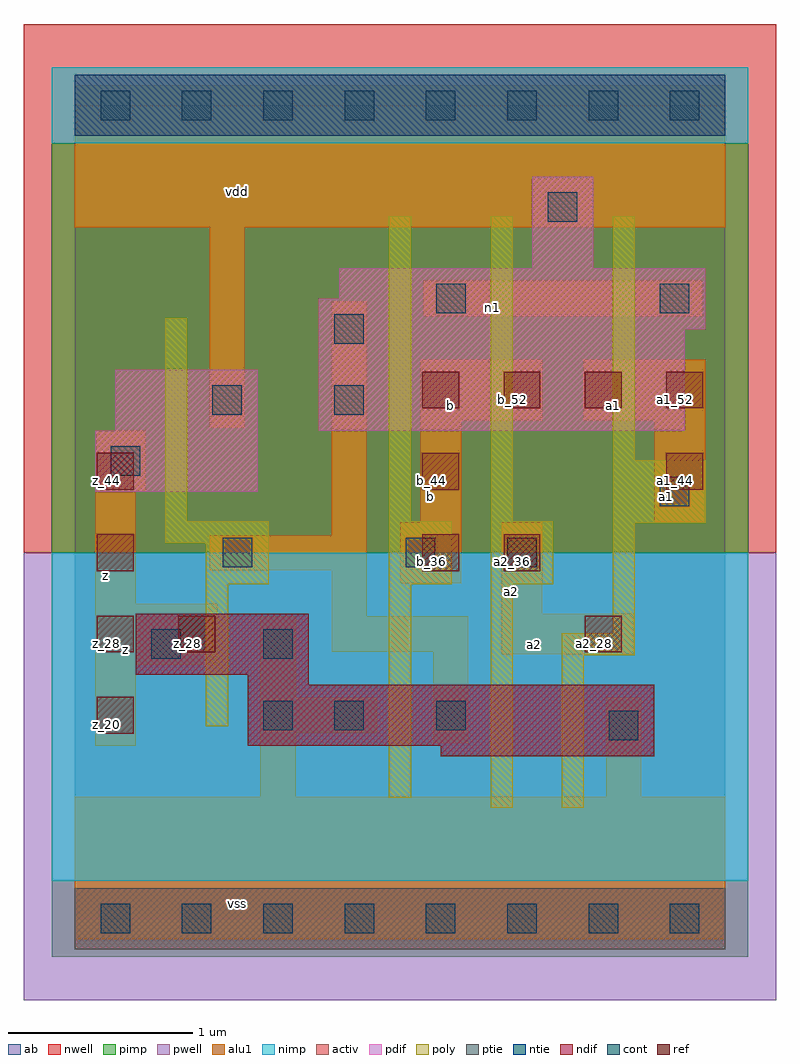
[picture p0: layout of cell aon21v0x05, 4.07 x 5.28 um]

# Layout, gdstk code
import gdstk
lib = gdstk.Library(unit=1e-6, precision=2.5e-09)
def R(c, l, rs):  # rectangles x0, y0, x1, y1
    for r in rs: c.add(gdstk.rectangle(r[:2], r[2:], *l))
def A(c, l, x, y, w, h, nx, ny, dx, dy):  # array of equal rectangles
    R(c, l, [(x+i*dx, y+j*dy, x+i*dx+w, y+j*dy+h) for i in range(nx) for j in range(ny)])
ndif = (3, 0)
pdif = (4, 0)
ntie = (5, 0)
ptie = (6, 0)
ref = (24, 0)
cont = (25, 0)
pwell = (41, 0)
nwell = (42, 0)
activ = (43, 0)
pimp = (44, 0)
nimp = (45, 0)
poly = (46, 0)
alu1 = (49, 0)
ab = (63, 0)

aon21v0x05 = lib.new_cell('aon21v0x05')
R(aon21v0x05, ndif, [(1.98,0.88,3.135,0.935), (0.935,0.935,3.135,1.265), (0.935,1.265,1.265,1.32), (0.33,1.32,1.265,1.65)])
R(aon21v0x05, pdif, [(0.11,2.31,0.99,2.64), (0.22,2.64,0.99,2.97), (1.32,2.64,3.3,3.19), (1.32,3.19,3.41,3.355), (1.43,3.355,3.41,3.52), (2.475,3.52,2.805,4.015)])
R(aon21v0x05, ntie, [(0,4.235,3.52,4.565)])
R(aon21v0x05, ptie, [(0,-0.165,3.52,0.165)])
A(aon21v0x05, ref, 0.12, 1, 0.2, 0.2, 1, 4, 0, 0.44)
A(aon21v0x05, ref, 1.88, 2.76, 0.2, 0.2, 4, 1, 0.44, 0)
R(aon21v0x05, ref, [(0.56,1.44,0.76,1.64), (2.76,1.44,2.96,1.64), (1.88,1.88,2.08,2.08), (2.32,1.88,2.52,2.08), (1.88,2.32,2.08,2.52), (3.2,2.32,3.4,2.52)])
A(aon21v0x05, cont, 0.14, -0.08, 0.16, 0.16, 8, 2, 0.44, 4.4)
R(aon21v0x05, cont, [(2.89,0.965,3.05,1.125), (1.02,1.02,1.18,1.18), (1.405,1.02,1.565,1.18), (1.955,1.02,2.115,1.18), (0.415,1.405,0.575,1.565), (1.02,1.405,1.18,1.565), (0.8,1.9,0.96,2.06), (1.79,1.9,1.95,2.06), (2.34,1.9,2.5,2.06), (3.165,2.23,3.325,2.39), (0.195,2.395,0.355,2.555), (0.745,2.725,0.905,2.885), (1.405,2.725,1.565,2.885), (1.405,3.11,1.565,3.27), (1.955,3.275,2.115,3.435), (3.165,3.275,3.325,3.435), (2.56,3.77,2.72,3.93)])
R(aon21v0x05, pwell, [(-0.275,-0.44,3.795,1.98)])
R(aon21v0x05, nwell, [(-0.275,1.98,3.795,4.84)])
R(aon21v0x05, activ, [(0,-0.165,3.52,0.165), (1.98,0.88,3.135,0.935), (0.935,0.935,3.135,1.265), (0.935,1.265,1.265,1.32), (0.33,1.32,1.265,1.65), (0.11,2.31,0.99,2.64), (0.22,2.64,0.99,2.97), (1.32,2.64,3.3,3.19), (1.32,3.19,3.41,3.355), (1.43,3.355,3.41,3.52), (2.475,3.52,2.805,4.015), (0,4.235,3.52,4.565)])
R(aon21v0x05, pimp, [(-0.125,-0.205,3.645,0.205), (-0.125,1.98,3.645,4.195)])
R(aon21v0x05, nimp, [(-0.125,0.205,3.645,1.98), (-0.125,4.195,3.645,4.605)])
R(aon21v0x05, poly, [(2.25,0.6,2.37,1.81), (2.635,0.6,2.755,1.425), (1.7,0.655,1.82,1.81), (0.71,1.04,0.83,1.81), (2.635,1.425,3.03,1.545), (2.91,1.545,3.03,2.14), (0.71,1.81,1.05,2.03), (1.7,1.81,2.04,2.15), (2.25,1.81,2.59,2.15), (0.49,2.03,1.05,2.15), (2.91,2.14,3.415,2.48), (0.49,2.15,0.61,3.25), (1.7,2.15,1.82,3.8), (2.25,2.15,2.37,3.8), (2.91,2.48,3.03,3.8)])
R(aon21v0x05, alu1, [(0,-0.11,3.52,0.66), (1.005,0.66,1.195,1.005), (2.875,0.66,3.065,1.195), (0.11,0.935,0.33,1.375), (1.94,0.95,2.13,1.445), (1.005,1.005,1.635,1.195), (1.005,1.195,1.195,1.635), (0.11,1.375,0.77,1.705), (2.31,1.43,3.025,1.65), (1.39,1.445,2.13,1.635), (1.39,1.635,1.58,1.885), (2.31,1.65,2.53,2.145), (0.11,1.705,0.33,2.31), (1.76,1.815,2.09,2.145), (0.73,1.885,1.58,2.075), (1.39,2.075,1.58,3.34), (1.87,2.145,2.09,2.695), (3.135,2.145,3.41,2.695), (0.11,2.31,0.385,2.64), (0.73,2.655,0.92,3.74), (1.87,2.695,2.53,3.025), (2.75,2.695,3.41,3.025), (1.885,3.26,3.395,3.45), (0,3.74,3.52,4.51)])
R(aon21v0x05, ab, [(0,0,3.52,4.4)])
aon21v0x05.add(gdstk.Label('vss', (0.88,0.0825), layer=49, texttype=0))
aon21v0x05.add(gdstk.Label('a2', (2.4875,1.485), layer=49, texttype=0))
aon21v0x05.add(gdstk.Label('a2', (2.365,1.7725), layer=49, texttype=0))
aon21v0x05.add(gdstk.Label('z', (0.275,1.4575), layer=49, texttype=0))
aon21v0x05.add(gdstk.Label('a1', (3.2025,2.2825), layer=49, texttype=0))
aon21v0x05.add(gdstk.Label('b', (1.925,2.2825), layer=49, texttype=0))
aon21v0x05.add(gdstk.Label('a1', (2.915,2.7775), layer=49, texttype=0))
aon21v0x05.add(gdstk.Label('b', (2.035,2.7775), layer=49, texttype=0))
aon21v0x05.add(gdstk.Label('n1', (2.2625,3.3075), layer=49, texttype=0))
aon21v0x05.add(gdstk.Label('z', (0.165,1.855), layer=49, texttype=0))
aon21v0x05.add(gdstk.Label('vdd', (0.88,3.9325), layer=49, texttype=0))
aon21v0x05.add(gdstk.Label('z_44', (0.17,2.37), layer=24, texttype=0))
aon21v0x05.add(gdstk.Label('z_36', (0.17,1.93), layer=24, texttype=0))
aon21v0x05.add(gdstk.Label('z_28', (0.17,1.49), layer=24, texttype=0))
aon21v0x05.add(gdstk.Label('z_20', (0.17,1.05), layer=24, texttype=0))
aon21v0x05.add(gdstk.Label('a1_44', (3.25,2.37), layer=24, texttype=0))
aon21v0x05.add(gdstk.Label('a1_52', (3.25,2.81), layer=24, texttype=0))
aon21v0x05.add(gdstk.Label('a1_52', (2.81,2.81), layer=24, texttype=0))
aon21v0x05.add(gdstk.Label('a2_28', (2.81,1.49), layer=24, texttype=0))
aon21v0x05.add(gdstk.Label('b_36', (1.93,1.93), layer=24, texttype=0))
aon21v0x05.add(gdstk.Label('b_44', (1.93,2.37), layer=24, texttype=0))
aon21v0x05.add(gdstk.Label('b_52', (1.93,2.81), layer=24, texttype=0))
aon21v0x05.add(gdstk.Label('b_52', (2.37,2.81), layer=24, texttype=0))
aon21v0x05.add(gdstk.Label('z_28', (0.61,1.49), layer=24, texttype=0))
aon21v0x05.add(gdstk.Label('a2_36', (2.37,1.93), layer=24, texttype=0))

lib.write_gds('aon21v0x05.gds')
